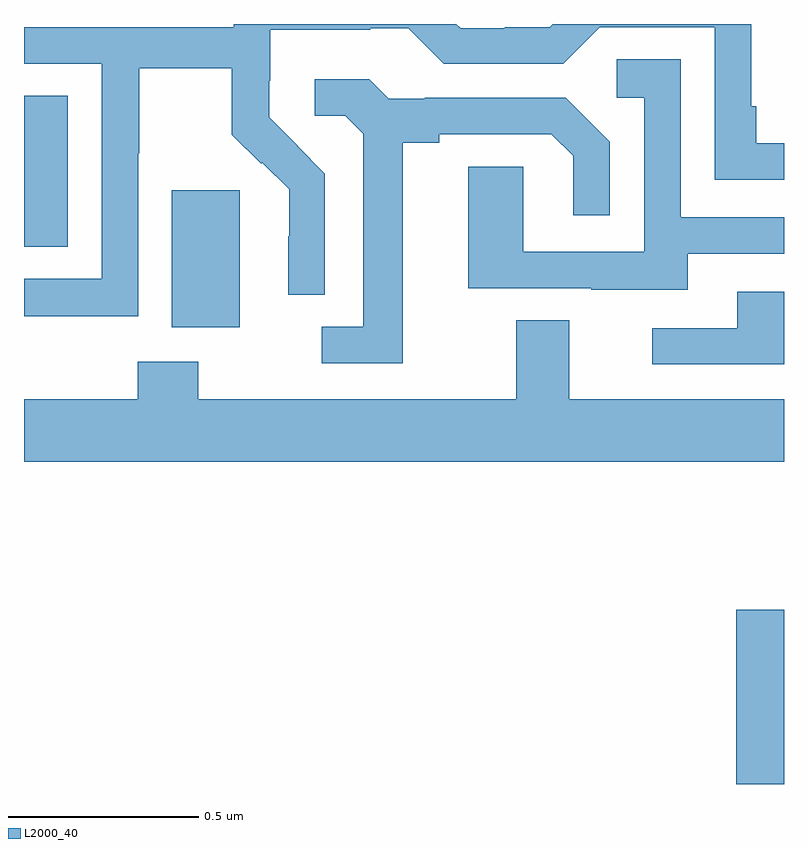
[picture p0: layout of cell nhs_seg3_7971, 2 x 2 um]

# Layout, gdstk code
import gdstk
lib = gdstk.Library(unit=1e-6, precision=1e-09)
def R(c, l, rs):  # rectangles x0, y0, x1, y1
    for r in rs: c.add(gdstk.rectangle(r[:2], r[2:], *l))
def P(c, l, *ps):  # polygons
    for p in ps: c.add(gdstk.Polygon(p, *l))
L2000_40 = (2000, 40)

nhs_seg3_7971 = lib.new_cell('nhs_seg3_7971')
R(nhs_seg3_7971, L2000_40, [(211.874,701.4,212,701.859), (210.389,702.602,210.568,702.963), (210,702.814,210.115,703.211)])
P(nhs_seg3_7971, L2000_40, [(210.3,703.06),(210.303,703.06),(210.303,703.284),(210.547,703.284),(210.547,703.109),(210.624,703.032),(210.627,703.035),(210.698,702.965),(210.698,702.842),(210.696,702.842),(210.696,702.688),(210.792,702.688),(210.792,703.006),(210.719,703.079),(210.72,703.08),(210.646,703.154),(210.646,703.251),(210.648,703.251),(210.648,703.385),(210.911,703.385),(210.911,703.389),(211.011,703.389),(211.104,703.296),(211.419,703.296),(211.515,703.392),(211.818,703.392),(211.818,702.99),(212,702.99),(212,703.086),(211.927,703.086),(211.927,703.183),(211.914,703.183),(211.914,703.4),(211.391,703.4),(211.383,703.392),(211.265,703.392),(211.265,703.389),(211.149,703.389),(211.138,703.4),(210.552,703.4),(210.552,703.392),(210,703.392),(210,703.296),(210.204,703.296),(210.204,702.729),(210,702.729),(210,702.631),(210.3,702.631)],
  [(211.747,702.795),(212,702.795),(212,702.891),(211.728,702.891),(211.728,703.307),(211.56,703.307),(211.56,703.206),(211.632,703.206),(211.632,702.801),(211.314,702.801),(211.314,703.025),(211.169,703.025),(211.169,702.705),(211.493,702.705),(211.493,702.701),(211.747,702.701)],
  [(210.997,703.088),(211.093,703.088),(211.093,703.11),(211.388,703.11),(211.445,703.053),(211.445,702.897),(211.542,702.897),(211.542,703.09),(211.426,703.206),(211.054,703.206),(211.054,703.203),(210.96,703.203),(210.908,703.255),(210.765,703.255),(210.765,703.158),(210.846,703.158),(210.893,703.111),(210.893,702.603),(210.783,702.603),(210.783,702.507),(210.997,702.507)],
  [(212,702.696),(211.877,702.696),(211.877,702.6),(211.653,702.6),(211.653,702.504),(212,702.504)],
  [(212,702.412),(211.435,702.412),(211.435,702.62),(211.295,702.62),(211.295,702.412),(210.459,702.412),(210.459,702.511),(210.299,702.511),(210.299,702.412),(210,702.412),(210,702.248),(212,702.248)])

lib.write_gds('nhs_seg3_7971.gds')
